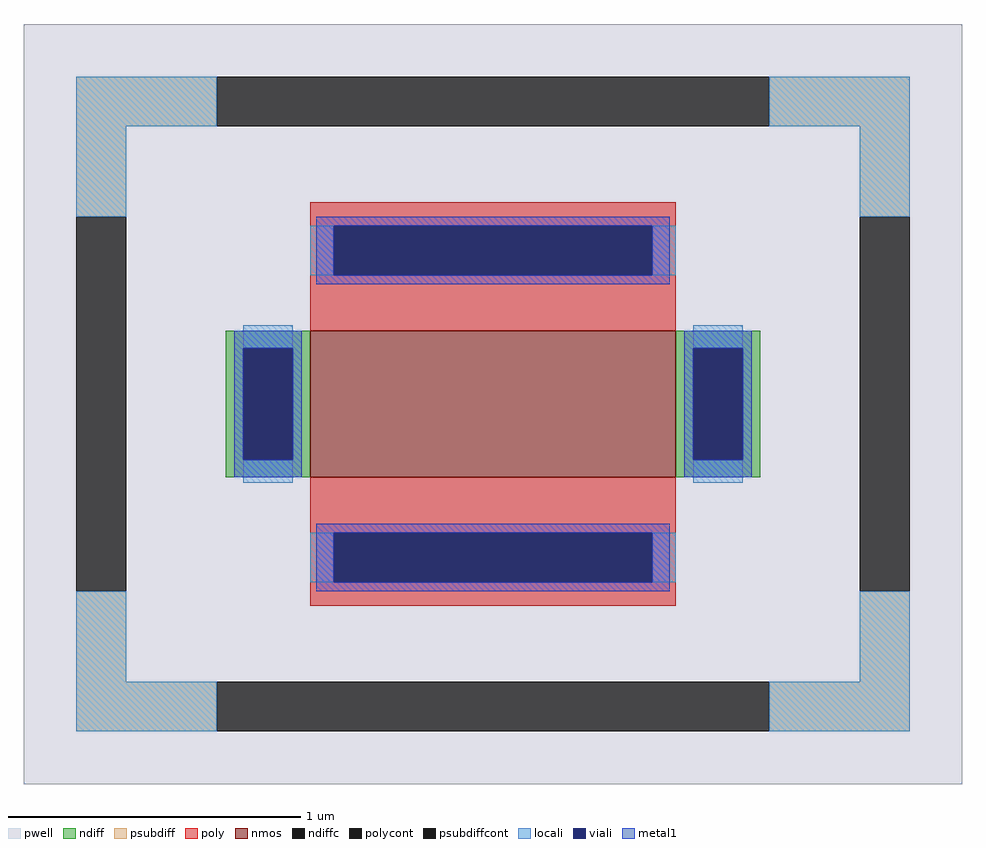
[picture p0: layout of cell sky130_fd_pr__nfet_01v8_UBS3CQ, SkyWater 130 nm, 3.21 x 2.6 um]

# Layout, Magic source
magic
tech sky130A
magscale 1 2
<< pwell >>
rect -321 -260 321 260
<< nmos >>
rect -125 -50 125 50
<< ndiff >>
rect -183 38 -125 50
rect -183 -38 -171 38
rect -137 -38 -125 38
rect -183 -50 -125 -38
rect 125 38 183 50
rect 125 -38 137 38
rect 171 -38 183 38
rect 125 -50 183 -38
<< ndiffc >>
rect -171 -38 -137 38
rect 137 -38 171 38
<< psubdiff >>
rect -285 190 -189 224
rect 189 190 285 224
rect -285 128 -251 190
rect 251 128 285 190
rect -285 -190 -251 -128
rect 251 -190 285 -128
rect -285 -224 -189 -190
rect 189 -224 285 -190
<< psubdiffcont >>
rect -189 190 189 224
rect -285 -128 -251 128
rect 251 -128 285 128
rect -189 -224 189 -190
<< poly >>
rect -125 122 125 138
rect -125 88 -109 122
rect 109 88 125 122
rect -125 50 125 88
rect -125 -88 125 -50
rect -125 -122 -109 -88
rect 109 -122 125 -88
rect -125 -138 125 -122
<< polycont >>
rect -109 88 109 122
rect -109 -122 109 -88
<< locali >>
rect -285 190 -189 224
rect 189 190 285 224
rect -285 128 -251 190
rect 251 128 285 190
rect -125 88 -109 122
rect 109 88 125 122
rect -171 38 -137 54
rect -171 -54 -137 -38
rect 137 38 171 54
rect 137 -54 171 -38
rect -125 -122 -109 -88
rect 109 -122 125 -88
rect -285 -190 -251 -128
rect 251 -190 285 -128
rect -285 -224 -189 -190
rect 189 -224 285 -190
<< viali >>
rect -109 88 109 122
rect -171 -38 -137 38
rect 137 -38 171 38
rect -109 -122 109 -88
<< metal1 >>
rect -121 122 121 128
rect -121 88 -109 122
rect 109 88 121 122
rect -121 82 121 88
rect -177 38 -131 50
rect -177 -38 -171 38
rect -137 -38 -131 38
rect -177 -50 -131 -38
rect 131 38 177 50
rect 131 -38 137 38
rect 171 -38 177 38
rect 131 -50 177 -38
rect -121 -88 121 -82
rect -121 -122 -109 -88
rect 109 -122 121 -88
rect -121 -128 121 -122
<< properties >>
string FIXED_BBOX -268 -207 268 207
string gencell sky130_fd_pr__nfet_01v8
string library sky130
string parameters w 0.5 l 1.25 m 1 nf 1 diffcov 100 polycov 100 guard 1 glc 1 grc 1 gtc 1 gbc 1 tbcov 100 rlcov 100 topc 1 botc 1 poverlap 0 doverlap 1 lmin 0.15 wmin 0.42 compatible {sky130_fd_pr__nfet_01v8 sky130_fd_pr__nfet_01v8_lvt  sky130_fd_bs_flash__special_sonosfet_star  sky130_fd_pr__nfet_g5v0d10v5 sky130_fd_pr__nfet_05v0_nvt  sky130_fd_pr__nfet_03v3_nvt} full_metal 1 viasrc 100 viadrn 100 viagate 100 viagb 0 viagr 0 viagl 0 viagt 0
<< end >>
